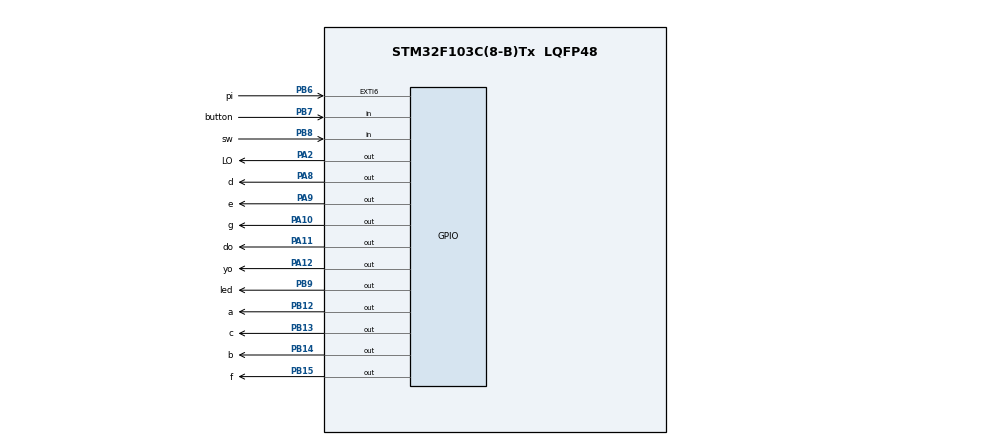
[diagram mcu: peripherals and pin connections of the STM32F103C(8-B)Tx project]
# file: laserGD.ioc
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Mcu.Family=STM32F1
Mcu.Name=STM32F103C(8-B)Tx
Mcu.Package=LQFP48
NVIC.EXTI9_5_IRQn=true\:0\:0\:false\:false\:true\:true\:true
NVIC.PriorityGroup=NVIC_PRIORITYGROUP_4
NVIC.TIM1_UP_IRQn=true\:0\:0\:false\:false\:true\:true\:true
PA10.GPIO_Label=g
PA10.GPIO_Speed=GPIO_SPEED_FREQ_HIGH
PA10.Signal=GPIO_Output
PA11.GPIO_Label=do
PA11.GPIO_Speed=GPIO_SPEED_FREQ_HIGH
PA11.Signal=GPIO_Output
PA12.GPIO_Label=yo
PA12.GPIO_Speed=GPIO_SPEED_FREQ_HIGH
PA12.Signal=GPIO_Output
PA13.Mode=Serial_Wire
PA13.Signal=SYS_JTMS-SWDIO
PA14.Mode=Serial_Wire
PA14.Signal=SYS_JTCK-SWCLK
PA2.GPIO_Label=LO
PA2.GPIO_Speed=GPIO_SPEED_FREQ_HIGH
PA2.PinState=GPIO_PIN_RESET
PA2.Signal=GPIO_Output
PA8.GPIO_Label=d
PA8.GPIO_Speed=GPIO_SPEED_FREQ_HIGH
PA8.Signal=GPIO_Output
PA9.GPIO_Label=e
PA9.GPIO_Speed=GPIO_SPEED_FREQ_HIGH
PA9.Signal=GPIO_Output
PB12.GPIO_Label=a
PB12.GPIO_Speed=GPIO_SPEED_FREQ_HIGH
PB12.Signal=GPIO_Output
PB13.GPIO_Label=c
PB13.GPIO_Speed=GPIO_SPEED_FREQ_HIGH
PB13.Signal=GPIO_Output
PB14.GPIO_Label=b
PB14.GPIO_Speed=GPIO_SPEED_FREQ_HIGH
PB14.Signal=GPIO_Output
PB15.GPIO_Label=f
PB15.GPIO_Speed=GPIO_SPEED_FREQ_HIGH
PB15.Signal=GPIO_Output
PB6.GPIO_Label=pi
PB6.Signal=GPXTI6
PB7.GPIO_Label=button
PB7.Signal=GPIO_Input
PB8.GPIO_Label=sw
PB8.Signal=GPIO_Input
PB9.GPIO_Label=led
PB9.GPIO_Speed=GPIO_SPEED_FREQ_HIGH
PB9.Signal=GPIO_Output
ProjectManager.HeapSize=0x200
ProjectManager.StackSize=0x400
ProjectManager.TargetToolchain=STM32CubeIDE
RCC.AHBFreq_Value=64000000
RCC.APB1CLKDivider=RCC_HCLK_DIV2
RCC.APB1Freq_Value=32000000
RCC.APB1TimFreq_Value=64000000
RCC.APB2Freq_Value=64000000
RCC.APB2TimFreq_Value=64000000
RCC.HCLKFreq_Value=64000000
RCC.PLLMUL=RCC_PLL_MUL16
RCC.SYSCLKFreq_VALUE=64000000
RCC.SYSCLKSource=RCC_SYSCLKSOURCE_PLLCLK
RCC.USBFreq_Value=64000000
TIM1.Period=3
TIM1.Prescaler=127
VP_TIM1_VS_ClockSourceINT.Mode=Internal
board=custom

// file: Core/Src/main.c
/* USER CODE BEGIN Header */
//gd32f103
/**
 ******************************************************************************
 * @file           : main.c
 * @brief          : Main program body
 ******************************************************************************
 * @attention
 *
 * <h2><center>&copy; Copyright (c) 2021 STMicroelectronics.
 * All rights reserved.</center></h2>
 *
 * This software component is licensed by ST under BSD 3-Clause license,
 * the "License"; You may not use this file except in compliance with the
 * License. You may obtain a copy of the License at:
 *                        opensource.org/licenses/BSD-3-Clause
 *
 ******************************************************************************
 */
/* USER CODE END Header */
#include "main.h"
#include "tim.h"
#include "gpio.h"

/* USER CODE BEGIN Includes */
#define delay_us10 uscnt=2;while(uscnt!=0)
uint32_t cnt=0,mcnt=0,Gcnt=0,Ocnt=0,Wcnt=0;
//volatile _Bool uscnt=0,mscnt=0;
volatile uint32_t uscnt=0,mscnt=0;
uint16_t n=0,nn=0;
extern _Bool shot;
_Bool G=0,C=0,S=0;
uint16_t i=0;
/* USER CODE END Includes */

/* USER CODE BEGIN PM */
void show_n(uint8_t n,_Bool q);

/* USER CODE END PM */

void SystemClock_Config(void);

int main(void)
{

	/* MCU Configuration--------------------------------------------------------*/

	/* Reset of all peripherals, Initializes the Flash interface and the Systick. */

	LL_APB2_GRP1_EnableClock(LL_APB2_GRP1_PERIPH_AFIO);
	LL_APB1_GRP1_EnableClock(LL_APB1_GRP1_PERIPH_PWR);

	NVIC_SetPriorityGrouping(NVIC_PRIORITYGROUP_4);

	/* System interrupt init*/

	/** NOJTAG: JTAG-DP Disabled and SW-DP Enabled
	 */
	LL_GPIO_AF_Remap_SWJ_NOJTAG();

	/* Configure the system clock */
	SystemClock_Config();

	/* Initialize all configured peripherals */
	MX_GPIO_Init();
	MX_TIM1_Init();
	/* USER CODE BEGIN 2 */
	LL_TIM_EnableCounter(TIM1);
	LL_TIM_EnableIT_UPDATE(TIM1);
	if (((LL_GPIO_ReadInputPort(sw_GPIO_Port)) & (1<<8)) == 0){
		//HAL_Delay(100);
		LL_mDelay(100);
		if (((LL_GPIO_ReadInputPort(sw_GPIO_Port)) & (1<<8)) == 0)S=1;
	}
	if(!S)
		LL_GPIO_SetOutputPin(led_GPIO_Port, led_Pin);
	else
		LL_GPIO_ResetOutputPin(led_GPIO_Port, led_Pin);
	//while(1){}
	/* USER CODE END 2 */

	/* Infinite loop */
	/* USER CODE BEGIN WHILE */
	while (1)
	{
		show_n(nn, 0);
		i=0;
		//				LL_GPIO_SetOutputPin(LO_GPIO_Port, LO_Pin);
		while(i<260)
		{
			delay_us10;
			i++;
			if(i%4==0){
				LL_GPIO_SetOutputPin(do_GPIO_Port, do_Pin);
			}else{
				LL_GPIO_ResetOutputPin(do_GPIO_Port, do_Pin);
			}
		}

		show_n(nn, 1);
		i=0;
		//				LL_GPIO_SetOutputPin(LO_GPIO_Port, LO_Pin);
		while(i<260)
		{
			delay_us10;
			i++;
			if(i%4==0){
				LL_GPIO_SetOutputPin(yo_GPIO_Port, yo_Pin);
			}else{
				LL_GPIO_ResetOutputPin(yo_GPIO_Port, yo_Pin);
			}
		}

		if (((LL_GPIO_ReadInputPort(button_GPIO_Port)) & (1<<7)) == 0){
			Gcnt++;
			if(Gcnt>150000)
				C=1;
		}else{
			if(Gcnt>150000)
				C=1;
			else if(Gcnt>10000)
			{
				G=1;
				C=0;
			}
			Gcnt=0;
		}
		if((G || S)&&!C)
		//while(1)
		{
			//LL_GPIO_ResetOutputPin(led_GPIO_Port, led_Pin);
			//while(1)
			if(shot)
			{
				//LL_mDelay(20);
				i=0;
				//				LL_GPIO_SetOutputPin(LO_GPIO_Port, LO_Pin);
				while(i<135)
				{
					LL_GPIO_SetOutputPin(LO_GPIO_Port, LO_Pin);
					delay_us10;
					LL_GPIO_ResetOutputPin(LO_GPIO_Port, LO_Pin);
					delay_us10;
					i++;
				}
				//GPIOA->ODR = (GPIOA->ODR)&(0b1111111111111011);
				//				LL_GPIO_ResetOutputPin(LO_GPIO_Port, LO_Pin);
				i=0;
				while(i<375){
					delay_us10;
					i++;
				}
				//LL_mDelay(6);
				i=0;
				//			LL_GPIO_SetOutputPin(LO_GPIO_Port, LO_Pin);
				while(i<175)
				{
					LL_GPIO_SetOutputPin(LO_GPIO_Port, LO_Pin);
					delay_us10;
					LL_GPIO_ResetOutputPin(LO_GPIO_Port, LO_Pin);
					delay_us10;
					i++;
				}
				//GPIOA->ODR = (GPIOA->ODR)&(0b1111111111111011);
				//		LL_GPIO_ResetOutputPin(LO_GPIO_Port, LO_Pin);
				//LL_mDelay(7);
				i=0;
				while(i<440){
					delay_us10;
					i++;
				}
				i=0;
				while(i<500){
					LL_GPIO_SetOutputPin(LO_GPIO_Port, LO_Pin);
					delay_us10;
					LL_GPIO_ResetOutputPin(LO_GPIO_Port, LO_Pin);
					delay_us10;
					i++;
				}
				//				while(i<16)
				//				{
				//					LL_GPIO_SetOutputPin(LO_GPIO_Port, LO_Pin);
				//					delay_ms(1);
				//					//					delay_us10;
				//					//GPIOA->ODR = (GPIOA->ODR)&(0b1111111111111011);
				//					//					delay_us10;
				//					i++;
				//				}
				//LL_GPIO_ResetOutputPin(LO_GPIO_Port, LO_Pin);
				//GPIOA->ODR = (GPIOA->ODR)&(0b1111111111111011);
				shot=0;
				nn++;
				//if(n>100)n=0;
				G=0;
			}
		}
		//		else{
		//			LL_GPIO_SetOutputPin(led_GPIO_Port, led_Pin);
		//		}
		if(C){//calibration of laser
			if(Wcnt%3==0)
				LL_GPIO_SetOutputPin(LO_GPIO_Port, LO_Pin);
			else
				LL_GPIO_ResetOutputPin(LO_GPIO_Port, LO_Pin);
		}else{
			LL_GPIO_ResetOutputPin(LO_GPIO_Port, LO_Pin);
		}

		if(G||S){
			LL_GPIO_ResetOutputPin(led_GPIO_Port, led_Pin);
		}else{
			LL_GPIO_SetOutputPin(led_GPIO_Port, led_Pin);
		}
		//		if(shot){
		//			LL_GPIO_TogglePin(LO_GPIO_Port, LO_Pin);
		//			HAL_Delay(500);
		//			LL_GPIO_TogglePin(LO_GPIO_Port, LO_Pin);
		//			HAL_Delay(500);
		//			shot=0;
		//			n++;
		//		}
		/* USER CODE END WHILE */

		/* USER CODE BEGIN 3 */
		//		if(uscnt>50000){
		//			uscnt=0;
		//			LL_GPIO_TogglePin(LO_GPIO_Port, LO_Pin);
		//		}
		//		while(Ocnt==Wcnt);//one ms for while
		//	Ocnt=Wcnt;
		Wcnt++;
	}
	/* USER CODE END 3 */
}

void SystemClock_Config(void)
{
	LL_FLASH_SetLatency(LL_FLASH_LATENCY_2);
	while(LL_FLASH_GetLatency()!= LL_FLASH_LATENCY_2)
	{
	}
	LL_RCC_HSI_SetCalibTrimming(16);
	LL_RCC_HSI_Enable();

	/* Wait till HSI is ready */
	while(LL_RCC_HSI_IsReady() != 1)
	{

	}
	LL_RCC_PLL_ConfigDomain_SYS(LL_RCC_PLLSOURCE_HSI_DIV_2, LL_RCC_PLL_MUL_16);
	LL_RCC_PLL_Enable();

	/* Wait till PLL is ready */
	while(LL_RCC_PLL_IsReady() != 1)
	{

	}
	LL_RCC_SetAHBPrescaler(LL_RCC_SYSCLK_DIV_1);
	LL_RCC_SetAPB1Prescaler(LL_RCC_APB1_DIV_2);
	LL_RCC_SetAPB2Prescaler(LL_RCC_APB2_DIV_1);
	LL_RCC_SetSysClkSource(LL_RCC_SYS_CLKSOURCE_PLL);

	/* Wait till System clock is ready */
	while(LL_RCC_GetSysClkSource() != LL_RCC_SYS_CLKSOURCE_STATUS_PLL)
	{

	}
	LL_Init1msTick(64000000);
	LL_SetSystemCoreClock(64000000);
}

/* USER CODE BEGIN 4 */
void show_n(uint8_t n,_Bool q){
	uint8_t b=0;
	if(q)
	{
		b=n%10;
		LL_GPIO_SetOutputPin(yo_GPIO_Port, yo_Pin);
		LL_GPIO_ResetOutputPin(do_GPIO_Port, do_Pin);
	}else{
		b=(n/10)%10;
		LL_GPIO_ResetOutputPin(yo_GPIO_Port, yo_Pin);
		LL_GPIO_SetOutputPin(do_GPIO_Port, do_Pin);
	}
	switch(b){
	case 0:
		LL_GPIO_SetOutputPin(a_GPIO_Port, a_Pin);
		LL_GPIO_SetOutputPin(b_GPIO_Port, b_Pin);
		LL_GPIO_SetOutputPin(c_GPIO_Port, c_Pin);
		LL_GPIO_SetOutputPin(d_GPIO_Port, d_Pin);
		LL_GPIO_SetOutputPin(e_GPIO_Port, e_Pin);
		LL_GPIO_SetOutputPin(f_GPIO_Port, f_Pin);
		LL_GPIO_ResetOutputPin(g_GPIO_Port, g_Pin);
		break;
	case 1:
		LL_GPIO_ResetOutputPin(a_GPIO_Port, a_Pin);
		LL_GPIO_SetOutputPin(b_GPIO_Port, b_Pin);
		LL_GPIO_SetOutputPin(c_GPIO_Port, c_Pin);
		LL_GPIO_ResetOutputPin(d_GPIO_Port, d_Pin);
		LL_GPIO_ResetOutputPin(e_GPIO_Port, e_Pin);
		LL_GPIO_ResetOutputPin(f_GPIO_Port, f_Pin);
		LL_GPIO_ResetOutputPin(g_GPIO_Port, g_Pin);
		break;
	case 2:
		LL_GPIO_SetOutputPin(a_GPIO_Port, a_Pin);
		LL_GPIO_SetOutputPin(b_GPIO_Port, b_Pin);
		LL_GPIO_ResetOutputPin(c_GPIO_Port, c_Pin);
		LL_GPIO_SetOutputPin(d_GPIO_Port, d_Pin);
		LL_GPIO_SetOutputPin(e_GPIO_Port, e_Pin);
		LL_GPIO_ResetOutputPin(f_GPIO_Port, f_Pin);
		LL_GPIO_SetOutputPin(g_GPIO_Port, g_Pin);
		break;
	case 3:
		LL_GPIO_SetOutputPin(a_GPIO_Port, a_Pin);
		LL_GPIO_SetOutputPin(b_GPIO_Port, b_Pin);
		LL_GPIO_SetOutputPin(c_GPIO_Port, c_Pin);
		LL_GPIO_SetOutputPin(d_GPIO_Port, d_Pin);
		LL_GPIO_ResetOutputPin(e_GPIO_Port, e_Pin);
		LL_GPIO_ResetOutputPin(f_GPIO_Port, f_Pin);
		LL_GPIO_SetOutputPin(g_GPIO_Port, g_Pin);
		break;
	case 4:
		LL_GPIO_ResetOutputPin(a_GPIO_Port, a_Pin);
		LL_GPIO_SetOutputPin(b_GPIO_Port, b_Pin);
		LL_GPIO_SetOutputPin(c_GPIO_Port, c_Pin);
		LL_GPIO_ResetOutputPin(d_GPIO_Port, d_Pin);
		LL_GPIO_ResetOutputPin(e_GPIO_Port, e_Pin);
		LL_GPIO_SetOutputPin(f_GPIO_Port, f_Pin);
		LL_GPIO_SetOutputPin(g_GPIO_Port, g_Pin);
		break;
	case 5:
		LL_GPIO_SetOutputPin(a_GPIO_Port, a_Pin);
		LL_GPIO_ResetOutputPin(b_GPIO_Port, b_Pin);
		LL_GPIO_SetOutputPin(c_GPIO_Port, c_Pin);
		LL_GPIO_SetOutputPin(d_GPIO_Port, d_Pin);
		LL_GPIO_ResetOutputPin(e_GPIO_Port, e_Pin);
		LL_GPIO_SetOutputPin(f_GPIO_Port, f_Pin);
		LL_GPIO_SetOutputPin(g_GPIO_Port, g_Pin);
		break;
	case 6:
		LL_GPIO_SetOutputPin(a_GPIO_Port, a_Pin);
		LL_GPIO_ResetOutputPin(b_GPIO_Port, b_Pin);
		LL_GPIO_SetOutputPin(c_GPIO_Port, c_Pin);
		LL_GPIO_SetOutputPin(d_GPIO_Port, d_Pin);
		LL_GPIO_SetOutputPin(e_GPIO_Port, e_Pin);
		LL_GPIO_SetOutputPin(f_GPIO_Port, f_Pin);
		LL_GPIO_SetOutputPin(g_GPIO_Port, g_Pin);
		break;
	case 7:
		LL_GPIO_SetOutputPin(a_GPIO_Port, a_Pin);
		LL_GPIO_SetOutputPin(b_GPIO_Port, b_Pin);
		LL_GPIO_SetOutputPin(c_GPIO_Port, c_Pin);
		LL_GPIO_ResetOutputPin(d_GPIO_Port, d_Pin);
		LL_GPIO_ResetOutputPin(e_GPIO_Port, e_Pin);
		LL_GPIO_ResetOutputPin(f_GPIO_Port, f_Pin);
		LL_GPIO_ResetOutputPin(g_GPIO_Port, g_Pin);
		break;
	case 8:
		LL_GPIO_SetOutputPin(a_GPIO_Port, a_Pin);
		LL_GPIO_SetOutputPin(b_GPIO_Port, b_Pin);
		LL_GPIO_SetOutputPin(c_GPIO_Port, c_Pin);
		LL_GPIO_SetOutputPin(d_GPIO_Port, d_Pin);
		LL_GPIO_SetOutputPin(e_GPIO_Port, e_Pin);
		LL_GPIO_SetOutputPin(f_GPIO_Port, f_Pin);
		LL_GPIO_SetOutputPin(g_GPIO_Port, g_Pin);
		break;
	case 9:
		LL_GPIO_SetOutputPin(a_GPIO_Port, a_Pin);
		LL_GPIO_SetOutputPin(b_GPIO_Port, b_Pin);
		LL_GPIO_SetOutputPin(c_GPIO_Port, c_Pin);
		LL_GPIO_SetOutputPin(d_GPIO_Port, d_Pin);
		LL_GPIO_ResetOutputPin(e_GPIO_Port, e_Pin);
		LL_GPIO_SetOutputPin(f_GPIO_Port, f_Pin);
		LL_GPIO_SetOutputPin(g_GPIO_Port, g_Pin);
		break;
	}

}
/* USER CODE END 4 */

void Error_Handler(void)
{
	__disable_irq();
	while (1)
	{
	}
}

/************************ (C) COPYRIGHT STMicroelectronics *****END OF FILE****/
